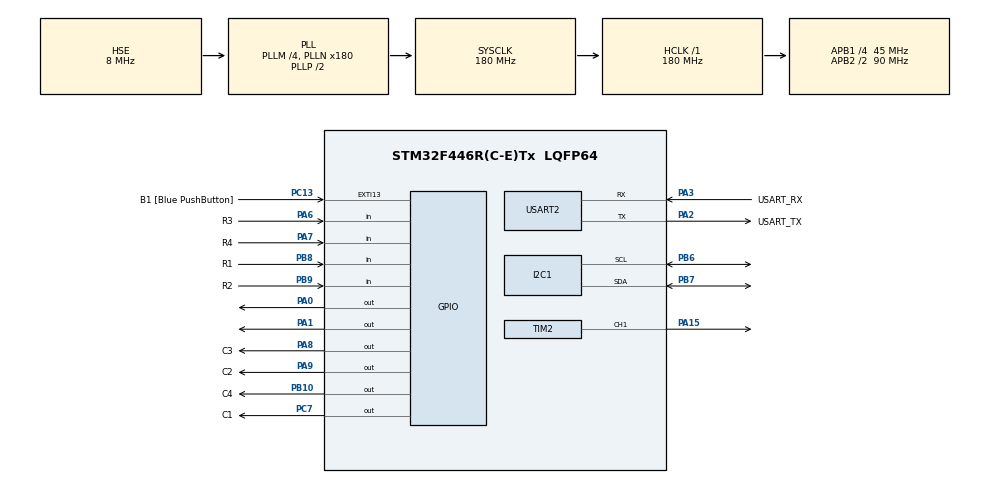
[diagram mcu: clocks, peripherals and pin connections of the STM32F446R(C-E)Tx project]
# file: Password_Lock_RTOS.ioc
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FREERTOS.Tasks01=Task1,2,128,Task1_Init,Default,NULL,Dynamic,NULL,NULL;Task2,1,128,Task2_Init,Default,NULL,Dynamic,NULL,NULL
FREERTOS.configUSE_NEWLIB_REENTRANT=1
Mcu.Family=STM32F4
Mcu.Name=STM32F446R(C-E)Tx
Mcu.Package=LQFP64
NVIC.PriorityGroup=NVIC_PRIORITYGROUP_4
NVIC.TIM6_DAC_IRQn=true\:15\:0\:false\:false\:true\:false\:false\:true\:true
NVIC.TimeBase=TIM6_DAC_IRQn
NVIC.TimeBaseIP=TIM6
PA0-WKUP.Signal=GPIO_Output
PA1.Signal=GPIO_Output
PA13.GPIO_Label=TMS
PA13.Mode=Serial_Wire
PA13.Signal=SYS_JTMS-SWDIO
PA14.GPIO_Label=TCK
PA14.Mode=Serial_Wire
PA14.Signal=SYS_JTCK-SWCLK
PA15.Signal=S_TIM2_CH1_ETR
PA2.GPIO_Label=USART_TX
PA2.Mode=Asynchronous
PA2.Signal=USART2_TX
PA3.GPIO_Label=USART_RX
PA3.Mode=Asynchronous
PA3.Signal=USART2_RX
PA6.GPIO_Label=R3
PA6.GPIO_PuPd=GPIO_PULLUP
PA6.Signal=GPIO_Input
PA7.GPIO_Label=R4
PA7.GPIO_PuPd=GPIO_PULLUP
PA7.Signal=GPIO_Input
PA8.GPIO_Label=C3
PA8.Signal=GPIO_Output
PA9.GPIO_Label=C2
PA9.Signal=GPIO_Output
PB10.GPIO_Label=C4
PB10.Signal=GPIO_Output
PB3.GPIO_Label=SWO
PB3.Signal=SYS_JTDO-SWO
PB6.Mode=I2C
PB6.Signal=I2C1_SCL
PB7.Mode=I2C
PB7.Signal=I2C1_SDA
PB8.GPIO_Label=R1
PB8.GPIO_PuPd=GPIO_PULLUP
PB8.Signal=GPIO_Input
PB9.GPIO_Label=R2
PB9.GPIO_PuPd=GPIO_PULLUP
PB9.Signal=GPIO_Input
PC13.GPIO_Label=B1 [Blue PushButton]
PC13.GPIO_ModeDefaultEXTI=GPIO_MODE_IT_FALLING
PC13.Signal=GPXTI13
PC14-OSC32_IN.Mode=LSE-External-Oscillator
PC14-OSC32_IN.Signal=RCC_OSC32_IN
PC15-OSC32_OUT.Mode=LSE-External-Oscillator
PC15-OSC32_OUT.Signal=RCC_OSC32_OUT
PC7.GPIO_Label=C1
PC7.Signal=GPIO_Output
PH0-OSC_IN.Mode=HSE-External-Oscillator
PH0-OSC_IN.Signal=RCC_OSC_IN
PH1-OSC_OUT.Mode=HSE-External-Oscillator
PH1-OSC_OUT.Signal=RCC_OSC_OUT
ProjectManager.HeapSize=0x200
ProjectManager.StackSize=0x400
ProjectManager.TargetToolchain=STM32CubeIDE
RCC.48MHZClocksFreq_Value=84000000
RCC.AHBFreq_Value=180000000
RCC.APB1CLKDivider=RCC_HCLK_DIV4
RCC.APB1Freq_Value=45000000
RCC.APB1TimFreq_Value=90000000
RCC.APB2CLKDivider=RCC_HCLK_DIV2
RCC.APB2Freq_Value=90000000
RCC.APB2TimFreq_Value=180000000
RCC.CortexFreq_Value=180000000
RCC.FLatency-AdvancedSettings=FLASH_LATENCY_5
RCC.HCLKFreq_Value=180000000
RCC.HSE_VALUE=8000000
RCC.HSI_VALUE=16000000
RCC.PLLM=4
RCC.PLLN=180
RCC.PLLSourceVirtual=RCC_PLLSOURCE_HSE
RCC.SYSCLKFreq_VALUE=180000000
RCC.SYSCLKSource=RCC_SYSCLKSOURCE_PLLCLK
RCC.USBFreq_Value=180000000
RCC.VCOOutputFreq_Value=360000000
SH.S_TIM2_CH1_ETR.0=TIM2_CH1,PWM Generation1 CH1
TIM2.Channel-PWM\ Generation1\ CH1=TIM_CHANNEL_1
TIM2.Period=1000
TIM2.Prescaler=3599
TIM2.Pulse-PWM\ Generation1\ CH1=25
USART2.VirtualMode=VM_ASYNC
VP_FREERTOS_VS_CMSIS_V1.Mode=CMSIS_V1
VP_SYS_VS_tim6.Mode=TIM6
VP_TIM2_VS_ClockSourceINT.Mode=Internal
board=NUCLEO-F446RE

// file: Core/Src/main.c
/* USER CODE BEGIN Header */
/**
  ******************************************************************************
  * @file           : main.c
  * @brief          : Main program body
  ******************************************************************************
  * @attention
  *
  * Copyright (c) 2023 STMicroelectronics.
  * All rights reserved.
  *
  * This software is licensed under terms that can be found in the LICENSE file
  * in the root directory of this software component.
  * If no LICENSE file comes with this software, it is provided AS-IS.
  *
  ******************************************************************************
  */
/* USER CODE END Header */
#include "main.h"
#include "cmsis_os.h"

/* USER CODE BEGIN Includes */
#include "stdio.h"
#include "liquidcrystal_i2c.h"
#include "string.h"
#include <stdbool.h>
/* USER CODE END Includes */

/* USER CODE BEGIN PTD */
GPIO_TypeDef* R1_PORT = GPIOB;
GPIO_TypeDef* R2_PORT = GPIOB;
GPIO_TypeDef* R3_PORT = GPIOA;
GPIO_TypeDef* R4_PORT = GPIOA;
GPIO_TypeDef* C1_PORT = GPIOC;
GPIO_TypeDef* C2_PORT = GPIOA;
GPIO_TypeDef* C3_PORT = GPIOA;
GPIO_TypeDef* C4_PORT = GPIOB;
/* USER CODE END PTD */

/* USER CODE BEGIN PD */
#define R1_PIN GPIO_PIN_8
#define R2_PIN GPIO_PIN_9
#define R3_PIN GPIO_PIN_6
#define R4_PIN GPIO_PIN_7
#define C1_PIN GPIO_PIN_7
#define C2_PIN GPIO_PIN_9
#define C3_PIN GPIO_PIN_8
#define C4_PIN GPIO_PIN_10
/* USER CODE END PD */

I2C_HandleTypeDef hi2c1;

TIM_HandleTypeDef htim2;

UART_HandleTypeDef huart2;

osThreadId Task1Handle;
osThreadId Task2Handle;
/* USER CODE BEGIN PV */
char key;

char enteredPin[5];

uint8_t entered = 0;

const char setPin[4] = {'1', '2', '3', '4'};

xQueueHandle keypadQueue;
/* USER CODE END PV */

void SystemClock_Config(void);
static void MX_GPIO_Init(void);
static void MX_USART2_UART_Init(void);
static void MX_TIM2_Init(void);
static void MX_I2C1_Init(void);
void Task1_Init(void const * argument);
void Task2_Init(void const * argument);

/* USER CODE BEGIN 0 */
char read_keypad(void)
{
	char keys[4][4] = {{'1', '2', '3', 'A'},
                      {'4', '5', '6', 'B'},
                      {'7', '8', '9', 'C'},
                      {'*', '0', '#', 'D'}};

    for (int i = 0; i < 4; i++)
    {
    	switch (i)
    	{
    		case 0:
                HAL_GPIO_WritePin(C1_PORT, C1_PIN, GPIO_PIN_RESET);
                HAL_GPIO_WritePin(C2_PORT, C2_PIN, GPIO_PIN_SET);
                HAL_GPIO_WritePin(C3_PORT, C3_PIN, GPIO_PIN_SET);
                HAL_GPIO_WritePin(C4_PORT, C4_PIN, GPIO_PIN_SET);
                break;

            case 1:
                HAL_GPIO_WritePin(C1_PORT, C1_PIN, GPIO_PIN_SET);
                HAL_GPIO_WritePin(C2_PORT, C2_PIN, GPIO_PIN_RESET);
                HAL_GPIO_WritePin(C3_PORT, C3_PIN, GPIO_PIN_SET);
                HAL_GPIO_WritePin(C4_PORT, C4_PIN, GPIO_PIN_SET);
                break;

            case 2:
                HAL_GPIO_WritePin(C1_PORT, C1_PIN, GPIO_PIN_SET);
                HAL_GPIO_WritePin(C2_PORT, C2_PIN, GPIO_PIN_SET);
                HAL_GPIO_WritePin(C3_PORT, C3_PIN, GPIO_PIN_RESET);
                HAL_GPIO_WritePin(C4_PORT, C4_PIN, GPIO_PIN_SET);
                break;

            case 3:
                HAL_GPIO_WritePin(C1_PORT, C1_PIN, GPIO_PIN_SET);
                HAL_GPIO_WritePin(C2_PORT, C2_PIN, GPIO_PIN_SET);
                HAL_GPIO_WritePin(C3_PORT, C3_PIN, GPIO_PIN_SET);
                HAL_GPIO_WritePin(C4_PORT, C4_PIN, GPIO_PIN_RESET);
                break;
        }

        if (HAL_GPIO_ReadPin(R1_PORT, R1_PIN) == GPIO_PIN_RESET)
            return keys[0][i];

        if (HAL_GPIO_ReadPin(R2_PORT, R2_PIN) == GPIO_PIN_RESET)
            return keys[1][i];

        if (HAL_GPIO_ReadPin(R3_PORT, R3_PIN) == GPIO_PIN_RESET)
            return keys[2][i];

        if (HAL_GPIO_ReadPin(R4_PORT, R4_PIN) == GPIO_PIN_RESET)
            return keys[3][i];
    }

    return '\0';
}
/* USER CODE END 0 */

int main(void)
{

  /* MCU Configuration--------------------------------------------------------*/

  /* Reset of all peripherals, Initializes the Flash interface and the Systick. */
  HAL_Init();

  /* Configure the system clock */
  SystemClock_Config();

  /* Initialize all configured peripherals */
  MX_GPIO_Init();
  MX_USART2_UART_Init();
  MX_TIM2_Init();
  MX_I2C1_Init();
  /* USER CODE BEGIN 2 */
  HAL_TIM_PWM_Start(&htim2, TIM_CHANNEL_1);

  HD44780_Init(2);
  HD44780_Clear();
  HD44780_SetCursor(4,0);
  HD44780_PrintStr("WELCOME");
  HAL_Delay(2000);
  HD44780_Clear();

  keypadQueue = xQueueCreate(1, sizeof(char));
  /* USER CODE END 2 */

  /* Create the thread(s) */
  /* definition and creation of Task1 */
  osThreadDef(Task1, Task1_Init, osPriorityNormal, 0, 128);
  Task1Handle = osThreadCreate(osThread(Task1), NULL);

  /* definition and creation of Task2 */
  osThreadDef(Task2, Task2_Init, osPriorityNormal, 0, 128);
  Task2Handle = osThreadCreate(osThread(Task2), NULL);

  /* Start scheduler */
  osKernelStart();

  /* We should never get here as control is now taken by the scheduler */
  /* Infinite loop */
  while (1)
  {

  }
}

void SystemClock_Config(void)
{
  RCC_OscInitTypeDef RCC_OscInitStruct = {0};
  RCC_ClkInitTypeDef RCC_ClkInitStruct = {0};

  /** Configure the main internal regulator output voltage
  */
  __HAL_RCC_PWR_CLK_ENABLE();
  __HAL_PWR_VOLTAGESCALING_CONFIG(PWR_REGULATOR_VOLTAGE_SCALE1);

  /** Initializes the RCC Oscillators according to the specified parameters
  * in the RCC_OscInitTypeDef structure.
  */
  RCC_OscInitStruct.OscillatorType = RCC_OSCILLATORTYPE_HSE;
  RCC_OscInitStruct.HSEState = RCC_HSE_ON;
  RCC_OscInitStruct.PLL.PLLState = RCC_PLL_ON;
  RCC_OscInitStruct.PLL.PLLSource = RCC_PLLSOURCE_HSE;
  RCC_OscInitStruct.PLL.PLLM = 4;
  RCC_OscInitStruct.PLL.PLLN = 180;
  RCC_OscInitStruct.PLL.PLLP = RCC_PLLP_DIV2;
  RCC_OscInitStruct.PLL.PLLQ = 2;
  RCC_OscInitStruct.PLL.PLLR = 2;
  if (HAL_RCC_OscConfig(&RCC_OscInitStruct) != HAL_OK)
  {
    Error_Handler();
  }

  /** Activate the Over-Drive mode
  */
  if (HAL_PWREx_EnableOverDrive() != HAL_OK)
  {
    Error_Handler();
  }

  /** Initializes the CPU, AHB and APB buses clocks
  */
  RCC_ClkInitStruct.ClockType = RCC_CLOCKTYPE_HCLK|RCC_CLOCKTYPE_SYSCLK
                              |RCC_CLOCKTYPE_PCLK1|RCC_CLOCKTYPE_PCLK2;
  RCC_ClkInitStruct.SYSCLKSource = RCC_SYSCLKSOURCE_PLLCLK;
  RCC_ClkInitStruct.AHBCLKDivider = RCC_SYSCLK_DIV1;
  RCC_ClkInitStruct.APB1CLKDivider = RCC_HCLK_DIV4;
  RCC_ClkInitStruct.APB2CLKDivider = RCC_HCLK_DIV2;

  if (HAL_RCC_ClockConfig(&RCC_ClkInitStruct, FLASH_LATENCY_5) != HAL_OK)
  {
    Error_Handler();
  }
}

static void MX_I2C1_Init(void)
{

  hi2c1.Instance = I2C1;
  hi2c1.Init.ClockSpeed = 100000;
  hi2c1.Init.DutyCycle = I2C_DUTYCYCLE_2;
  hi2c1.Init.OwnAddress1 = 0;
  hi2c1.Init.AddressingMode = I2C_ADDRESSINGMODE_7BIT;
  hi2c1.Init.DualAddressMode = I2C_DUALADDRESS_DISABLE;
  hi2c1.Init.OwnAddress2 = 0;
  hi2c1.Init.GeneralCallMode = I2C_GENERALCALL_DISABLE;
  hi2c1.Init.NoStretchMode = I2C_NOSTRETCH_DISABLE;
  if (HAL_I2C_Init(&hi2c1) != HAL_OK)
  {
    Error_Handler();
  }

}

static void MX_TIM2_Init(void)
{

  TIM_ClockConfigTypeDef sClockSourceConfig = {0};
  TIM_MasterConfigTypeDef sMasterConfig = {0};
  TIM_OC_InitTypeDef sConfigOC = {0};

  htim2.Instance = TIM2;
  htim2.Init.Prescaler = 3599;
  htim2.Init.CounterMode = TIM_COUNTERMODE_UP;
  htim2.Init.Period = 1000;
  htim2.Init.ClockDivision = TIM_CLOCKDIVISION_DIV1;
  htim2.Init.AutoReloadPreload = TIM_AUTORELOAD_PRELOAD_DISABLE;
  if (HAL_TIM_Base_Init(&htim2) != HAL_OK)
  {
    Error_Handler();
  }
  sClockSourceConfig.ClockSource = TIM_CLOCKSOURCE_INTERNAL;
  if (HAL_TIM_ConfigClockSource(&htim2, &sClockSourceConfig) != HAL_OK)
  {
    Error_Handler();
  }
  if (HAL_TIM_PWM_Init(&htim2) != HAL_OK)
  {
    Error_Handler();
  }
  sMasterConfig.MasterOutputTrigger = TIM_TRGO_RESET;
  sMasterConfig.MasterSlaveMode = TIM_MASTERSLAVEMODE_DISABLE;
  if (HAL_TIMEx_MasterConfigSynchronization(&htim2, &sMasterConfig) != HAL_OK)
  {
    Error_Handler();
  }
  sConfigOC.OCMode = TIM_OCMODE_PWM1;
  sConfigOC.Pulse = 25;
  sConfigOC.OCPolarity = TIM_OCPOLARITY_HIGH;
  sConfigOC.OCFastMode = TIM_OCFAST_DISABLE;
  if (HAL_TIM_PWM_ConfigChannel(&htim2, &sConfigOC, TIM_CHANNEL_1) != HAL_OK)
  {
    Error_Handler();
  }
  HAL_TIM_MspPostInit(&htim2);

}
static void MX_USART2_UART_Init(void)
{

  huart2.Instance = USART2;
  huart2.Init.BaudRate = 115200;
  huart2.Init.WordLength = UART_WORDLENGTH_8B;
  huart2.Init.StopBits = UART_STOPBITS_1;
  huart2.Init.Parity = UART_PARITY_NONE;
  huart2.Init.Mode = UART_MODE_TX_RX;
  huart2.Init.HwFlowCtl = UART_HWCONTROL_NONE;
  huart2.Init.OverSampling = UART_OVERSAMPLING_16;
  if (HAL_UART_Init(&huart2) != HAL_OK)
  {
    Error_Handler();
  }
}

static void MX_GPIO_Init(void)
{
  GPIO_InitTypeDef GPIO_InitStruct = {0};

  /* GPIO Ports Clock Enable */
  __HAL_RCC_GPIOC_CLK_ENABLE();
  __HAL_RCC_GPIOH_CLK_ENABLE();
  __HAL_RCC_GPIOA_CLK_ENABLE();
  __HAL_RCC_GPIOB_CLK_ENABLE();

  /*Configure GPIO pin Output Level */
  HAL_GPIO_WritePin(GPIOA, GPIO_PIN_0|GPIO_PIN_1|C3_Pin|C2_Pin, GPIO_PIN_RESET);

  /*Configure GPIO pin Output Level */
  HAL_GPIO_WritePin(C4_GPIO_Port, C4_Pin, GPIO_PIN_RESET);

  /*Configure GPIO pin Output Level */
  HAL_GPIO_WritePin(C1_GPIO_Port, C1_Pin, GPIO_PIN_RESET);

  /*Configure GPIO pin : B1_Pin */
  GPIO_InitStruct.Pin = B1_Pin;
  GPIO_InitStruct.Mode = GPIO_MODE_IT_FALLING;
  GPIO_InitStruct.Pull = GPIO_NOPULL;
  HAL_GPIO_Init(B1_GPIO_Port, &GPIO_InitStruct);

  /*Configure GPIO pins : PA0 PA1 C3_Pin C2_Pin */
  GPIO_InitStruct.Pin = GPIO_PIN_0|GPIO_PIN_1|C3_Pin|C2_Pin;
  GPIO_InitStruct.Mode = GPIO_MODE_OUTPUT_PP;
  GPIO_InitStruct.Pull = GPIO_NOPULL;
  GPIO_InitStruct.Speed = GPIO_SPEED_FREQ_LOW;
  HAL_GPIO_Init(GPIOA, &GPIO_InitStruct);

  /*Configure GPIO pins : R3_Pin R4_Pin */
  GPIO_InitStruct.Pin = R3_Pin|R4_Pin;
  GPIO_InitStruct.Mode = GPIO_MODE_INPUT;
  GPIO_InitStruct.Pull = GPIO_PULLUP;
  HAL_GPIO_Init(GPIOA, &GPIO_InitStruct);

  /*Configure GPIO pin : C4_Pin */
  GPIO_InitStruct.Pin = C4_Pin;
  GPIO_InitStruct.Mode = GPIO_MODE_OUTPUT_PP;
  GPIO_InitStruct.Pull = GPIO_NOPULL;
  GPIO_InitStruct.Speed = GPIO_SPEED_FREQ_LOW;
  HAL_GPIO_Init(C4_GPIO_Port, &GPIO_InitStruct);

  /*Configure GPIO pin : C1_Pin */
  GPIO_InitStruct.Pin = C1_Pin;
  GPIO_InitStruct.Mode = GPIO_MODE_OUTPUT_PP;
  GPIO_InitStruct.Pull = GPIO_NOPULL;
  GPIO_InitStruct.Speed = GPIO_SPEED_FREQ_LOW;
  HAL_GPIO_Init(C1_GPIO_Port, &GPIO_InitStruct);

  /*Configure GPIO pins : R1_Pin R2_Pin */
  GPIO_InitStruct.Pin = R1_Pin|R2_Pin;
  GPIO_InitStruct.Mode = GPIO_MODE_INPUT;
  GPIO_InitStruct.Pull = GPIO_PULLUP;
  HAL_GPIO_Init(GPIOB, &GPIO_InitStruct);

}
/* USER CODE BEGIN 4 */
enum State
{
	L_HOME,
  	U_HOME,
  	PIN,
  	DIS
};

enum State currentState = L_HOME;

uint8_t pinAtt = 0;
/* USER CODE END 4 */

void Task1_Init(void const * argument)
{
  /* USER CODE BEGIN 5 */
	uint16_t targetCCR = htim2.Instance->CCR1;

	enteredPin[0] = '\0';

	bool isButtonPressed = false;
  /* Infinite loop */
  for(;;)
  {
	key = read_keypad();

	switch (key)
	{
		case 'A':
		{
			currentState = L_HOME;

			break;
		}

		case 'B':
		{
			if (currentState != U_HOME)
			{
				currentState = PIN;
			}

			break;
		}
	}

	while (htim2.Instance->CCR1 != targetCCR)
	{
		if (htim2.Instance->CCR1 < targetCCR)
		{
		  htim2.Instance->CCR1 += 1;
		}
		else
		{
		  htim2.Instance->CCR1 -= 1;
		}

		osDelay(5);
	}

	 switch(currentState)
	 {
		 case L_HOME:
		 {
		  targetCCR = 25;

		  break;
		 }

		 case U_HOME:
		 {
		  targetCCR = 125;
		  pinAtt = 0;

		  break;
		 }

		 case PIN:
		 {
			if (key != '\0')
			{
			 if (!isButtonPressed)
			 {
				if (key >= '0' && key <= '9' && entered < 4)
				{
				 strncat(enteredPin, &key, 1);
				 entered++;
				}
				else if (key == 'C' && entered > 0)
				{
					enteredPin[entered - 1] = '\0';
					entered--;
				}

				if (entered == 4)
				{

				 if (strcmp(enteredPin, setPin) == 0)
				 {
					 currentState = U_HOME;
					 pinAtt = 0;
				 }
				 else
				 {
					 currentState = L_HOME;
					 pinAtt++;
				 }

				 entered = 0;
				 enteredPin[0] = '\0';
				}

				isButtonPressed = true;
			 }
			 else
			 {
				 isButtonPressed = false;
			 }

		  targetCCR = 25;
		  if (pinAtt == 3)
		  {
			currentState = DIS;
		  }

		  break;
		 }

		 case DIS:
		 {
		 	targetCCR = 25;

		 	break;
		 }
		}
	 }
	 osDelay(100);
  }
  /* USER CODE END 5 */
}

void Task2_Init(void const * argument) // for displaying
{
  /* USER CODE BEGIN Task2_Init */
  /* Infinite loop */
  for(;;)
  {
	switch(currentState)
	{
		case L_HOME:
		{
		  HD44780_Clear();
		  HD44780_SetCursor(0, 0);
		  HD44780_PrintStr("Status: LOCKED");

		  osDelay(100);

		  HAL_GPIO_WritePin(GPIOA, GPIO_PIN_0, GPIO_PIN_SET);
		  HAL_GPIO_WritePin(GPIOA, GPIO_PIN_1, GPIO_PIN_RESET);

		  break;
		}

		case U_HOME:
		{
		  HD44780_Clear();
		  HD44780_SetCursor(0, 0);
		  HD44780_PrintStr("Status: UNLOCKED");
		  osDelay(100);

		  HAL_GPIO_WritePin(GPIOA, GPIO_PIN_0, GPIO_PIN_RESET);
		  HAL_GPIO_WritePin(GPIOA, GPIO_PIN_1, GPIO_PIN_SET);

		  break;
		}

		case PIN:
		{
			HD44780_Clear();
			HD44780_SetCursor(0,0);
			HD44780_PrintStr("Enter PIN:");

			HD44780_SetCursor(11, 0);
			for (int i = 0; i < entered; i++)
			{
			 HD44780_PrintChar('*');
			}

			if (pinAtt > 0)
			{
				HD44780_SetCursor(0,1);
				HD44780_PrintStr("Attempt:");
				HD44780_SetCursor(9,1);
				char att[2];
				sprintf(att, "%d", pinAtt);
				HD44780_PrintStr(att);
				HD44780_SetCursor(10,1);
				HD44780_PrintStr("/3");
			}
			osDelay(100);

			HAL_GPIO_WritePin(GPIOA, GPIO_PIN_0, GPIO_PIN_SET);
			HAL_GPIO_WritePin(GPIOA, GPIO_PIN_1, GPIO_PIN_RESET);

			break;
		}

		case DIS:
		{
			HD44780_Clear();
			HD44780_SetCursor(0,0);
			HD44780_PrintStr("SYSTEM DISABLED");
			osDelay(100);

			HAL_GPIO_WritePin(GPIOA, GPIO_PIN_0, GPIO_PIN_SET);
			HAL_GPIO_WritePin(GPIOA, GPIO_PIN_1, GPIO_PIN_RESET);

			break;
	  	}
	 }
  }
  /* USER CODE END Task2_Init */
}

void HAL_TIM_PeriodElapsedCallback(TIM_HandleTypeDef *htim)
{
  if (htim->Instance == TIM6) {
    HAL_IncTick();
  }
}

void Error_Handler(void)
{
  __disable_irq();
  while (1)
  {
  }
}
